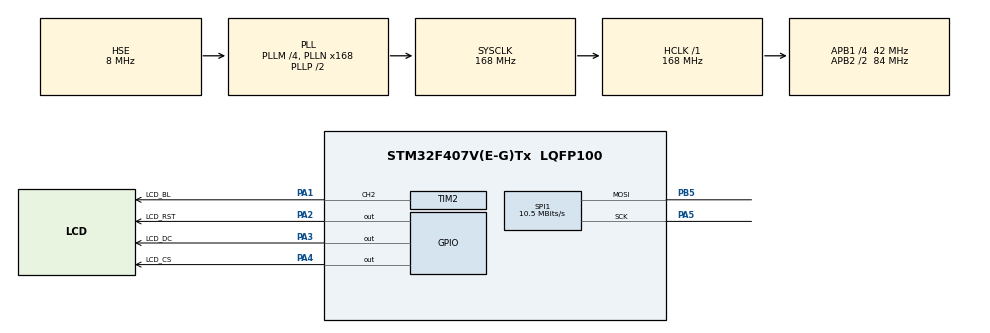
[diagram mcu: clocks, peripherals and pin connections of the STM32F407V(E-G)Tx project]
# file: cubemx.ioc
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Mcu.Family=STM32F4
Mcu.Name=STM32F407V(E-G)Tx
Mcu.Package=LQFP100
NVIC.PriorityGroup=NVIC_PRIORITYGROUP_4
PA1.GPIO_Label=LCD_BL
PA1.Mode=PWM Generation2 CH2
PA1.Signal=S_TIM2_CH2
PA13.Mode=Serial_Wire
PA13.Signal=SYS_JTMS-SWDIO
PA14.Mode=Serial_Wire
PA14.Signal=SYS_JTCK-SWCLK
PA2.GPIO_Label=LCD_RST
PA2.PinState=GPIO_PIN_SET
PA2.Signal=GPIO_Output
PA3.GPIO_Label=LCD_DC
PA3.PinState=GPIO_PIN_SET
PA3.Signal=GPIO_Output
PA4.GPIO_Label=LCD_CS
PA4.PinState=GPIO_PIN_SET
PA4.Signal=GPIO_Output
PA5.Mode=Half_Duplex_Master
PA5.Signal=SPI1_SCK
PB5.Mode=Half_Duplex_Master
PB5.Signal=SPI1_MOSI
PC14-OSC32_IN.Mode=LSE-External-Oscillator
PC14-OSC32_IN.Signal=RCC_OSC32_IN
PC15-OSC32_OUT.Mode=LSE-External-Oscillator
PC15-OSC32_OUT.Signal=RCC_OSC32_OUT
PH0-OSC_IN.Mode=HSE-External-Oscillator
PH0-OSC_IN.Signal=RCC_OSC_IN
PH1-OSC_OUT.Mode=HSE-External-Oscillator
PH1-OSC_OUT.Signal=RCC_OSC_OUT
ProjectManager.HeapSize=0x000
ProjectManager.StackSize=0x800
ProjectManager.TargetToolchain=Makefile
RCC.48MHZClocksFreq_Value=84000000
RCC.AHBFreq_Value=168000000
RCC.APB1CLKDivider=RCC_HCLK_DIV4
RCC.APB1Freq_Value=42000000
RCC.APB1TimFreq_Value=84000000
RCC.APB2CLKDivider=RCC_HCLK_DIV2
RCC.APB2Freq_Value=84000000
RCC.APB2TimFreq_Value=168000000
RCC.CortexFreq_Value=168000000
RCC.EnbaleCSS=true
RCC.HCLKFreq_Value=168000000
RCC.HSE_VALUE=8000000
RCC.HSI_VALUE=16000000
RCC.PLLM=4
RCC.PLLN=168
RCC.PLLSourceVirtual=RCC_PLLSOURCE_HSE
RCC.SYSCLKFreq_VALUE=168000000
RCC.SYSCLKSource=RCC_SYSCLKSOURCE_PLLCLK
RCC.VCOOutputFreq_Value=336000000
SPI1.BaudRatePrescaler=SPI_BAUDRATEPRESCALER_8
SPI1.CLKPhase=SPI_PHASE_1EDGE
SPI1.CLKPolarity=SPI_POLARITY_LOW
SPI1.CalculateBaudRate=10.5 MBits/s
SPI1.Direction=SPI_DIRECTION_1LINE
SPI1.Mode=SPI_MODE_MASTER
SPI1.VirtualType=VM_MASTER
TIM2.Channel-PWM\ Generation2\ CH2=TIM_CHANNEL_2
TIM2.Period=199
TIM2.Prescaler=83
TIM2.Pulse-PWM\ Generation2\ CH2=0
VP_TIM2_VS_ClockSourceINT.Mode=Internal
board=custom

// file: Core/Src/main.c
#include "main.h"  // 引入主程序头文件，获取 HAL 接口、LCD 引脚宏和函数声明。
SPI_HandleTypeDef hspi1;  // 定义 SPI1 的全局句柄，保存外设实例、配置参数和传输状态。
void SystemClock_Config(void);  // 声明系统时钟配置函数，便于 main 在其定义之前调用。
static void MX_SPI1_Init(void);  // 声明仅在本文件内使用的 SPI1 初始化函数。
static void MX_TIM2_Init(void);  // 声明 PA1 背光 PWM 初始化函数。
int main(void)  // 程序主入口，由启动代码完成底层启动后调用。
{  // 开始当前函数或控制流程的代码块。
  HAL_Init();  // 初始化 HAL 库、毫秒系统滴答和底层 MSP 支持。
  SystemClock_Config();  // 配置系统时钟；按 8 MHz 外部晶振生成 168 MHz 系统时钟。
  MX_GPIO_Init();  // 开启 GPIO 时钟，设置 LCD 控制脚和未使用引脚。
  MX_TIM2_Init();  // 初始化 TIM2_CH2 的 5 kHz PWM，背光先保持关闭。
  MX_SPI1_Init();  // 初始化 SPI1，并通过 MSP 配置 PA5 时钟脚和 PB5 数据脚。
  extern void user_main(void);  // 声明在 app.c 中定义的应用入口函数。
  user_main();  // 进入 LVGL 示例及其主循环；正常运行时不会返回。
  while (1)  // 应用入口意外返回时停留在此兜底循环。
  {  // 开始当前函数或控制流程的代码块。
  }  // 结束当前函数或控制流程的代码块。
}  // 结束当前函数或控制流程的代码块。

void SystemClock_Config(void)  // 定义系统时钟配置函数。
{  // 开始当前函数或控制流程的代码块。
  RCC_OscInitTypeDef RCC_OscInitStruct = {0};  // 将振荡器和 PLL 配置结构体清零，避免未初始化字段。
  RCC_ClkInitTypeDef RCC_ClkInitStruct = {0};  // 将系统时钟和总线分频配置结构体清零。

  /** Configure the main internal regulator output voltage
  */
  __HAL_RCC_PWR_CLK_ENABLE();  // 开启电源控制模块时钟，以便配置内部稳压器。
  __HAL_PWR_VOLTAGESCALING_CONFIG(PWR_REGULATOR_VOLTAGE_SCALE1);  // 设置内部稳压器为 Scale 1，支持当前 168 MHz 工作频率。

  /** Initializes the RCC Oscillators according to the specified parameters
  * in the RCC_OscInitTypeDef structure.
  */
  RCC_OscInitStruct.OscillatorType = RCC_OSCILLATORTYPE_HSE;  // 选择本次需要配置的振荡器类型：外部高速时钟 HSE。
  RCC_OscInitStruct.HSEState = RCC_HSE_ON;  // 开启外部高速晶振，当前工程按 8 MHz 晶振配置。
  RCC_OscInitStruct.PLL.PLLState = RCC_PLL_ON;  // 开启主 PLL，用于产生系统所需的高频时钟。
  RCC_OscInitStruct.PLL.PLLSource = RCC_PLLSOURCE_HSE;  // 选择外部高速晶振 HSE 作为 PLL 的输入来源。
  RCC_OscInitStruct.PLL.PLLM = 4;  // PLL 输入先除以 4：8 MHz / 4 = 2 MHz。
  RCC_OscInitStruct.PLL.PLLN = 168;  // PLL VCO 再乘以 168：2 MHz × 168 = 336 MHz。
  RCC_OscInitStruct.PLL.PLLP = RCC_PLLP_DIV2;  // 系统时钟输出除以 2：336 MHz / 2 = 168 MHz。
  RCC_OscInitStruct.PLL.PLLQ = 4;  // PLLQ 辅助输出除以 4，当前配置对应 84 MHz。
  if (HAL_RCC_OscConfig(&RCC_OscInitStruct) != HAL_OK)  // 应用振荡器和 PLL 参数，并检查启动、锁定是否成功。
  {  // 开始当前函数或控制流程的代码块。
    Error_Handler();  // 初始化失败时进入错误处理函数，停止继续执行。
  }  // 结束当前函数或控制流程的代码块。

  /** Initializes the CPU, AHB and APB buses clocks
  */
  RCC_ClkInitStruct.ClockType = RCC_CLOCKTYPE_HCLK|RCC_CLOCKTYPE_SYSCLK  // 指定本次配置包含 AHB 时钟 HCLK 和系统时钟 SYSCLK。
                              |RCC_CLOCKTYPE_PCLK1|RCC_CLOCKTYPE_PCLK2;  // 继续指定需要配置 APB1 时钟 PCLK1 和 APB2 时钟 PCLK2。
  RCC_ClkInitStruct.SYSCLKSource = RCC_SYSCLKSOURCE_PLLCLK;  // 选择 PLL 的系统时钟输出作为 SYSCLK 来源。
  RCC_ClkInitStruct.AHBCLKDivider = RCC_SYSCLK_DIV1;  // AHB 不分频，HCLK 和 CPU 时钟均为 168 MHz。
  RCC_ClkInitStruct.APB1CLKDivider = RCC_HCLK_DIV4;  // APB1 总线按 HCLK 的四分之一运行，即 42 MHz。
  RCC_ClkInitStruct.APB2CLKDivider = RCC_HCLK_DIV2;  // APB2 总线按 HCLK 的二分之一运行，即 84 MHz，供 SPI1 使用。

  if (HAL_RCC_ClockConfig(&RCC_ClkInitStruct, FLASH_LATENCY_5) != HAL_OK)  // 设置总线时钟并将 Flash 等待周期设为 5，检查配置结果。
  {  // 开始当前函数或控制流程的代码块。
    Error_Handler();  // 初始化失败时进入错误处理函数，停止继续执行。
  }  // 结束当前函数或控制流程的代码块。

  /** Enables the Clock Security System
  */
  HAL_RCC_EnableCSS();  // 开启 HSE 时钟安全监测，检测到 HSE 故障时触发相应处理。
}  // 结束当前函数或控制流程的代码块。

static void MX_SPI1_Init(void)  // 定义 SPI1 初始化函数，其作用域限于当前文件。
{  // 开始当前函数或控制流程的代码块。
  hspi1.Instance = SPI1;  // 将句柄绑定到 SPI1 硬件外设。
  hspi1.Init.Mode = SPI_MODE_MASTER;  // 设置 MCU 为 SPI 主机，由 MCU 产生串行时钟。
  hspi1.Init.Direction = SPI_DIRECTION_1LINE;  // 选择单数据线半双工模式；LCD 驱动通过该数据线向屏幕发送数据。
  hspi1.Init.DataSize = SPI_DATASIZE_8BIT;  // 每个 SPI 数据帧包含 8 位，即一个字节。
  /* SPI mode 0: idle low, sample MOSI on the rising edge. */
  hspi1.Init.CLKPolarity = SPI_POLARITY_LOW;  // 设置 CPOL=0，使 SPI 时钟空闲时保持低电平。
  hspi1.Init.CLKPhase = SPI_PHASE_1EDGE;  // 设置 CPHA=0，在第一个时钟边沿即上升沿采样，组合为模式 0。
  hspi1.Init.NSS = SPI_NSS_SOFT;  // 使用软件管理内部 NSS；屏幕的外部 CS 由 PA4 单独控制。
  /* APB2 = 84 MHz; 10.5 MHz for LVGL partial-area transfers. */
  hspi1.Init.BaudRatePrescaler = SPI_BAUDRATEPRESCALER_8;  // 将 84 MHz 的 APB2 时钟除以 8，得到 10.5 MHz SPI 时钟。
  hspi1.Init.FirstBit = SPI_FIRSTBIT_MSB;  // 每个字节从最高位开始发送。
  hspi1.Init.TIMode = SPI_TIMODE_DISABLE;  // 关闭 TI 帧格式，使用常规 SPI 帧格式。
  hspi1.Init.CRCCalculation = SPI_CRCCALCULATION_DISABLE;  // 关闭 SPI 硬件 CRC，当前 LCD 通信不使用 CRC 校验。
  hspi1.Init.CRCPolynomial = 10;  // 填写 CRC 多项式参数；由于 CRC 已关闭，该参数不参与当前传输。
  if (HAL_SPI_Init(&hspi1) != HAL_OK)  // 应用 SPI 参数并调用 MSP 配置外设时钟及引脚，检查初始化结果。
  {  // 开始当前函数或控制流程的代码块。
    Error_Handler();  // 初始化失败时进入错误处理函数，停止继续执行。
  }  // 结束当前函数或控制流程的代码块。
}  // 结束当前函数或控制流程的代码块。

void MX_GPIO_Init(void)  // 定义 GPIO 初始化函数。
{  // 开始当前函数或控制流程的代码块。
  GPIO_InitTypeDef GPIO_InitStruct = {0};  // 清零 GPIO 配置结构体，随后复用它配置不同引脚组。

  /* GPIO Ports Clock Enable */
  __HAL_RCC_GPIOE_CLK_ENABLE();  // 开启 GPIOE 端口时钟，允许访问其配置寄存器。
  __HAL_RCC_GPIOC_CLK_ENABLE();  // 开启 GPIOC 端口时钟，允许访问其配置寄存器。
  __HAL_RCC_GPIOH_CLK_ENABLE();  // 开启 GPIOH 端口时钟，允许访问其配置寄存器。
  __HAL_RCC_GPIOA_CLK_ENABLE();  // 开启 GPIOA 端口时钟，LCD 控制脚和 SPI1 时钟脚位于该端口。
  __HAL_RCC_GPIOB_CLK_ENABLE();  // 开启 GPIOB 端口时钟，SPI1 的 MOSI 数据脚 PB5 位于该端口。
  __HAL_RCC_GPIOD_CLK_ENABLE();  // 开启 GPIOD 端口时钟，允许访问其配置寄存器。

  /*Configure GPIO pin Output Level */
  HAL_GPIO_WritePin(GPIOA, LCD_CS_Pin|LCD_DC_Pin|LCD_RST_Pin, GPIO_PIN_SET);  // 预置 PA4/CS、PA3/DC、PA2/RST 为高电平，使片选无效并释放复位。
  HAL_GPIO_WritePin(LCD_BL_GPIO_Port, LCD_BL_Pin, GPIO_PIN_RESET);  // 预置 PA1/BL 为低电平；背光由引脚控制时先关闭，屏幕初始化后再开启。

  /*Configure GPIO pins : PE2 PE3 PE4 PE5
                           PE6 PE7 PE8 PE9
                           PE10 PE11 PE12 PE13
                           PE14 PE15 PE0 PE1 */
  GPIO_InitStruct.Pin = GPIO_PIN_2|GPIO_PIN_3|GPIO_PIN_4|GPIO_PIN_5  // 开始设置本组引脚掩码，选择编号 2、3、4、5 的引脚。
                          |GPIO_PIN_6|GPIO_PIN_7|GPIO_PIN_8|GPIO_PIN_9  // 继续合并本组引脚掩码，加入编号 6、7、8、9 的引脚。
                          |GPIO_PIN_10|GPIO_PIN_11|GPIO_PIN_12|GPIO_PIN_13  // 继续合并本组引脚掩码，加入编号 10、11、12、13 的引脚。
                          |GPIO_PIN_14|GPIO_PIN_15|GPIO_PIN_0|GPIO_PIN_1;  // 继续合并本组引脚掩码，加入编号 14、15、0、1 的引脚。
  GPIO_InitStruct.Mode = GPIO_MODE_ANALOG;  // 将本组未使用引脚设为模拟模式，关闭其数字输入缓冲。
  GPIO_InitStruct.Pull = GPIO_NOPULL;  // 关闭本组引脚的内部上拉和下拉电阻。
  HAL_GPIO_Init(GPIOE, &GPIO_InitStruct);  // 将本组模拟模式和无上下拉配置应用到 GPIOE 的选定引脚。

  /*Configure GPIO pins : PC13 PC0 PC1 PC2
                           PC3 PC4 PC5 PC6
                           PC7 PC8 PC9 PC10
                           PC11 PC12 */
  GPIO_InitStruct.Pin = GPIO_PIN_13|GPIO_PIN_0|GPIO_PIN_1|GPIO_PIN_2  // 开始设置本组引脚掩码，选择编号 13、0、1、2 的引脚。
                          |GPIO_PIN_3|GPIO_PIN_4|GPIO_PIN_5|GPIO_PIN_6  // 继续合并本组引脚掩码，加入编号 3、4、5、6 的引脚。
                          |GPIO_PIN_7|GPIO_PIN_8|GPIO_PIN_9|GPIO_PIN_10  // 继续合并本组引脚掩码，加入编号 7、8、9、10 的引脚。
                          |GPIO_PIN_11|GPIO_PIN_12;  // 继续合并本组引脚掩码，加入编号 11、12 的引脚。
  GPIO_InitStruct.Mode = GPIO_MODE_ANALOG;  // 将本组未使用引脚设为模拟模式，关闭其数字输入缓冲。
  GPIO_InitStruct.Pull = GPIO_NOPULL;  // 关闭本组引脚的内部上拉和下拉电阻。
  HAL_GPIO_Init(GPIOC, &GPIO_InitStruct);  // 将本组模拟模式和无上下拉配置应用到 GPIOC 的选定引脚。

  /*Configure GPIO pins : PA0 PA6 PA7 PA8
                           PA9 PA10 PA11 PA12
                           PA15 */
  GPIO_InitStruct.Pin = GPIO_PIN_0|GPIO_PIN_6|GPIO_PIN_7|GPIO_PIN_8  // 开始设置本组引脚掩码，选择编号 0、6、7、8 的引脚。
                          |GPIO_PIN_9|GPIO_PIN_10|GPIO_PIN_11|GPIO_PIN_12  // 继续合并本组引脚掩码，加入编号 9、10、11、12 的引脚。
                          |GPIO_PIN_15;  // 继续合并本组引脚掩码，加入编号 15 的引脚。
  GPIO_InitStruct.Mode = GPIO_MODE_ANALOG;  // 将本组未使用引脚设为模拟模式，关闭其数字输入缓冲。
  GPIO_InitStruct.Pull = GPIO_NOPULL;  // 关闭本组引脚的内部上拉和下拉电阻。
  HAL_GPIO_Init(GPIOA, &GPIO_InitStruct);  // 将模拟配置应用到 GPIOA 的未使用引脚；PA7 不再输出 SPI 数据。

  /*Configure LCD control pins : PA2 PA3 PA4; PA1 uses TIM2 PWM. */
  GPIO_InitStruct.Pin = LCD_RST_Pin|LCD_DC_Pin|LCD_CS_Pin;  // 选择 PA2/RST、PA3/DC、PA4/CS；PA1 稍后配置为 PWM 复用功能。
  GPIO_InitStruct.Mode = GPIO_MODE_OUTPUT_PP;  // 将 LCD 控制引脚设置为推挽输出，能够主动输出高、低电平。
  GPIO_InitStruct.Pull = GPIO_NOPULL;  // 关闭本组引脚的内部上拉和下拉电阻。
  GPIO_InitStruct.Speed = GPIO_SPEED_FREQ_LOW;  // 选择低速输出边沿档位，适合背光、复位、片选等控制信号。
  HAL_GPIO_Init(GPIOA, &GPIO_InitStruct);  // 将推挽输出、无上下拉和低速边沿配置应用到 PA2～PA4。

  /*Configure GPIO pins : PB0 PB1 PB2 PB10
                           PB11 PB12 PB13 PB14
                           PB15 PB3 PB4
                           PB6 PB7 PB8 PB9 */
  GPIO_InitStruct.Pin = GPIO_PIN_0|GPIO_PIN_1|GPIO_PIN_2|GPIO_PIN_10  // 开始设置本组引脚掩码，选择编号 0、1、2、10 的引脚。
                          |GPIO_PIN_11|GPIO_PIN_12|GPIO_PIN_13|GPIO_PIN_14  // 继续合并本组引脚掩码，加入编号 11、12、13、14 的引脚。
                          |GPIO_PIN_15|GPIO_PIN_3|GPIO_PIN_4  // 继续合并本组引脚掩码，加入编号 15、3、4 的引脚。
                          |GPIO_PIN_6|GPIO_PIN_7|GPIO_PIN_8|GPIO_PIN_9;  // 继续合并本组引脚掩码，加入编号 6、7、8、9 的引脚。
  GPIO_InitStruct.Mode = GPIO_MODE_ANALOG;  // 将本组未使用引脚设为模拟模式，关闭其数字输入缓冲。
  GPIO_InitStruct.Pull = GPIO_NOPULL;  // 关闭本组引脚的内部上拉和下拉电阻。
  HAL_GPIO_Init(GPIOB, &GPIO_InitStruct);  // 将本组模拟配置应用到 GPIOB；PB5 留给后续 SPI1 MSP 初始化。

  /*Configure GPIO pins : PD8 PD9 PD10 PD11
                           PD12 PD13 PD14 PD15
                           PD0 PD1 PD2 PD3
                           PD4 PD5 PD6 PD7 */
  GPIO_InitStruct.Pin = GPIO_PIN_8|GPIO_PIN_9|GPIO_PIN_10|GPIO_PIN_11  // 开始设置本组引脚掩码，选择编号 8、9、10、11 的引脚。
                          |GPIO_PIN_12|GPIO_PIN_13|GPIO_PIN_14|GPIO_PIN_15  // 继续合并本组引脚掩码，加入编号 12、13、14、15 的引脚。
                          |GPIO_PIN_0|GPIO_PIN_1|GPIO_PIN_2|GPIO_PIN_3  // 继续合并本组引脚掩码，加入编号 0、1、2、3 的引脚。
                          |GPIO_PIN_4|GPIO_PIN_5|GPIO_PIN_6|GPIO_PIN_7;  // 继续合并本组引脚掩码，加入编号 4、5、6、7 的引脚。
  GPIO_InitStruct.Mode = GPIO_MODE_ANALOG;  // 将本组未使用引脚设为模拟模式，关闭其数字输入缓冲。
  GPIO_InitStruct.Pull = GPIO_NOPULL;  // 关闭本组引脚的内部上拉和下拉电阻。
  HAL_GPIO_Init(GPIOD, &GPIO_InitStruct);  // 将本组模拟模式和无上下拉配置应用到 GPIOD 的选定引脚。

}  // 结束当前函数或控制流程的代码块。

/* USER CODE BEGIN 4 */

static void MX_TIM2_Init(void)  // 配置 TIM2 通道 2，在 PA1 输出背光 PWM。
{  // PWM 初始化函数开始。
  GPIO_InitTypeDef gpio = {0};  // 清零 PWM 引脚配置结构体。
  __HAL_RCC_TIM2_CLK_ENABLE();  // 开启 TIM2 时钟；当前 APB1 定时器时钟为 84 MHz。
  __HAL_RCC_TIM2_FORCE_RESET();  // 复位 TIM2，确保从已知寄存器状态开始配置。
  __HAL_RCC_TIM2_RELEASE_RESET();  // 释放 TIM2 复位。
  TIM2->PSC = 83U;  // 84 MHz / (83 + 1) = 1 MHz 计数频率。
  TIM2->ARR = 199U;  // 1 MHz / (199 + 1) = 5 kHz PWM 频率。
  TIM2->CCMR1 = TIM_CCMR1_OC2M_1 | TIM_CCMR1_OC2M_2 | TIM_CCMR1_OC2PE;  // 通道 2 使用 PWM 模式 1，并预装载比较值。
  TIM2->CCR2 = 0U;  // 初始占空比为 0%，屏幕初始化完成后再开启背光。
  TIM2->CCER = TIM_CCER_CC2E;  // 开启通道 2 输出，采用高电平有效极性。
  TIM2->EGR = TIM_EGR_UG;  // 产生更新事件，将分频和比较参数装入实际工作寄存器。
  TIM2->SR = 0U;  // 清除初始化产生的更新标志，本例不使用定时器中断。
  TIM2->CR1 = TIM_CR1_ARPE | TIM_CR1_CEN;  // 开启周期预装载并启动定时器计数。
  gpio.Pin = LCD_BL_Pin;  // 选择 PA1 背光控制引脚。
  gpio.Mode = GPIO_MODE_AF_PP;  // 使用定时器复用推挽输出，而非普通 GPIO 输出。
  gpio.Pull = GPIO_NOPULL;  // 不启用内部上拉、下拉。
  gpio.Speed = GPIO_SPEED_FREQ_LOW;  // 5 kHz 控制信号使用低速输出边沿即可。
  gpio.Alternate = GPIO_AF1_TIM2;  // 选择 AF1，将 PA1 连接到 TIM2_CH2。
  HAL_GPIO_Init(LCD_BL_GPIO_Port, &gpio);  // 应用 PA1 的 PWM 引脚配置。
}  // PWM 初始化函数结束。

void LCD_Backlight_SetDuty(uint8_t percent)  // 设置背光 PWM 占空比，允许 0～100%。
{  // 背光占空比设置函数开始。
  if (percent > 100U) percent = 100U;  // 将超过 100% 的输入限制到 100%。
  TIM2->CCR2 = ((TIM2->ARR + 1U) * percent) / 100U;  // 周期为 200 个计数，50% 对应 CCR2=100。
}  // 背光占空比设置函数结束。

/* USER CODE END 4 */

void Error_Handler(void)  // 定义初始化失败等异常情况的统一错误处理函数。
{  // 开始当前函数或控制流程的代码块。
  /* USER CODE BEGIN Error_Handler_Debug */
  /* User can add his own implementation to report the HAL error return state */
  __disable_irq();  // 关闭可屏蔽中断，防止错误状态下继续响应普通中断。
  while (1)  // 发生错误后停留在无限循环中，等待复位或调试器检查。
  {  // 开始当前函数或控制流程的代码块。
  }  // 结束当前函数或控制流程的代码块。
  /* USER CODE END Error_Handler_Debug */
}  // 结束当前函数或控制流程的代码块。
